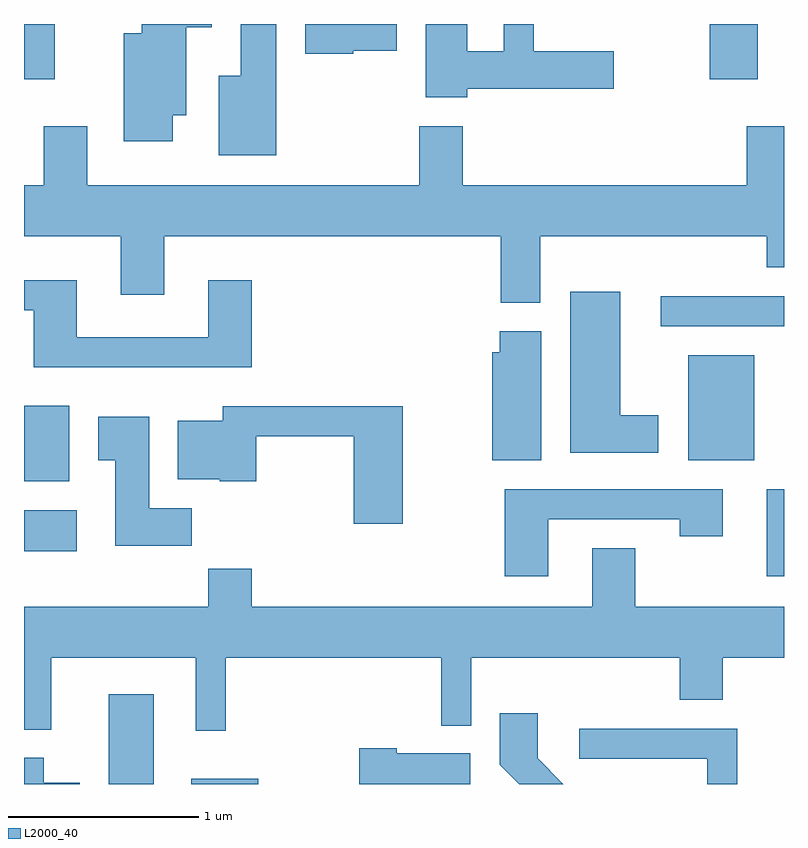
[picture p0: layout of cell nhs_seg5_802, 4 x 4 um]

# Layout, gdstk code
import gdstk
lib = gdstk.Library(unit=1e-6, precision=1e-09)
def R(c, l, rs):  # rectangles x0, y0, x1, y1
    for r in rs: c.add(gdstk.rectangle(r[:2], r[2:], *l))
def P(c, l, *ps):  # polygons
    for p in ps: c.add(gdstk.Polygon(p, *l))
L2000_40 = (2000, 40)

nhs_seg5_802 = lib.new_cell('nhs_seg5_802')
R(nhs_seg5_802, L2000_40, [(208.056,1516.072,208.294,1516.544), (208.491,1516.072,208.844,1516.099), (211.521,1517.166,211.611,1517.624), (207.611,1517.296,207.889,1517.514), (207.611,1517.666,207.849,1518.064), (211.106,1517.776,211.454,1518.329), (210.963,1518.481,211.611,1518.639), (207.611,1519.781,207.774,1520.072), (211.221,1519.781,211.474,1520.072)])
P(nhs_seg5_802, L2000_40, [(208.394,1519.591),(208.464,1519.591),(208.464,1520.056),(208.599,1520.056),(208.599,1520.072),(208.231,1520.072),(208.231,1520.024),(208.136,1520.024),(208.136,1519.456),(208.394,1519.456)],
  [(209.944,1519.731),(210.714,1519.731),(210.714,1519.929),(210.294,1519.929),(210.294,1520.072),(210.136,1520.072),(210.136,1519.929),(209.944,1519.929),(209.944,1520.072),(209.726,1520.072),(209.726,1519.686),(209.944,1519.686)],
  [(208.939,1520.072),(208.751,1520.072),(208.751,1519.799),(208.636,1519.799),(208.636,1519.381),(208.939,1519.381)],
  [(209.345,1519.931),(209.574,1519.931),(209.574,1520.072),(209.091,1520.072),(209.091,1519.916),(209.345,1519.916)],
  [(210.329,1518.956),(211.521,1518.956),(211.521,1518.791),(211.611,1518.791),(211.611,1519.534),(211.416,1519.534),(211.416,1519.224),(209.919,1519.224),(209.919,1519.534),(209.691,1519.534),(209.691,1519.224),(207.944,1519.224),(207.944,1519.534),(207.716,1519.534),(207.716,1519.224),(207.611,1519.224),(207.611,1518.956),(208.121,1518.956),(208.121,1518.646),(208.349,1518.646),(208.349,1518.956),(210.121,1518.956),(210.121,1518.606),(210.329,1518.606)],
  [(208.809,1518.724),(208.581,1518.724),(208.581,1518.424),(207.889,1518.424),(207.889,1518.724),(207.611,1518.724),(207.611,1518.566),(207.661,1518.566),(207.661,1518.266),(208.809,1518.266)],
  [(210.949,1518.014),(210.749,1518.014),(210.749,1518.664),(210.486,1518.664),(210.486,1517.816),(210.949,1517.816)],
  [(210.334,1518.454),(210.116,1518.454),(210.116,1518.344),(210.076,1518.344),(210.076,1517.776),(210.334,1517.776)],
  [(209.604,1518.059),(208.656,1518.059),(208.656,1517.984),(208.421,1517.984),(208.421,1517.676),(208.64,1517.676),(208.64,1517.666),(208.834,1517.666),(208.834,1517.901),(209.346,1517.901),(209.346,1517.441),(209.604,1517.441)],
  [(208.494,1517.524),(208.269,1517.524),(208.269,1518.004),(208.001,1518.004),(208.001,1517.776),(208.091,1517.776),(208.091,1517.326),(208.494,1517.326)],
  [(210.369,1517.466),(211.061,1517.466),(211.061,1517.376),(211.289,1517.376),(211.289,1517.624),(210.141,1517.624),(210.141,1517.166),(210.369,1517.166)],
  [(208.674,1516.736),(209.806,1516.736),(209.806,1516.378),(209.964,1516.378),(209.964,1516.736),(211.061,1516.736),(211.061,1516.516),(211.289,1516.516),(211.289,1516.736),(211.611,1516.736),(211.611,1517.004),(210.829,1517.004),(210.829,1517.314),(210.601,1517.314),(210.601,1517.004),(208.809,1517.004),(208.809,1517.204),(208.581,1517.204),(208.581,1517.004),(207.611,1517.004),(207.611,1516.358),(207.754,1516.358),(207.754,1516.736),(208.516,1516.736),(208.516,1516.353),(208.674,1516.353)],
  [(210.314,1516.207),(210.314,1516.444),(210.116,1516.444),(210.116,1516.174),(210.218,1516.072),(210.449,1516.072)],
  [(211.364,1516.364),(210.533,1516.364),(210.533,1516.206),(211.206,1516.206),(211.206,1516.072),(211.364,1516.072)],
  [(209.959,1516.234),(209.574,1516.234),(209.574,1516.259),(209.376,1516.259),(209.376,1516.072),(209.959,1516.072)],
  [(207.904,1516.079),(207.714,1516.079),(207.714,1516.209),(207.611,1516.209),(207.611,1516.072),(207.904,1516.072)])

lib.write_gds('nhs_seg5_802.gds')
